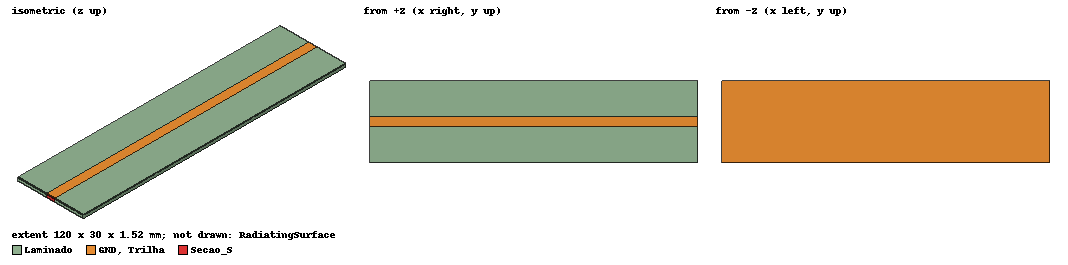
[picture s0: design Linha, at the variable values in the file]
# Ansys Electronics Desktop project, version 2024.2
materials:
  vacuum: permittivity=1
  ZYF300CA_P: permittivity=3 dielectric_loss_tangent=0.0018
  copper: permeability=0.999991 conductivity=58000000

design Linha (HFSS, HFSS Hybrid Modal Network, model units mm)
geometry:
  Laminado [ZYF300CA_P] = box(corner=(0mm, -15mm, 0mm), size=(120mm, 30mm, 1.52mm))
  GND = rectangle(corner=(0mm, -15mm, 0mm), x_size=120mm, y_size=30mm)
  Trilha = rectangle(corner=(0mm, -1.9065mm, 1.52mm), x_size=120mm, y_size=3.813mm)
  Secao_E = rectangle(corner=(0mm, -1.9065mm, 0mm), y_size=3.813mm, z_size=1.52mm)
  Secao_S = rectangle(corner=(120mm, -1.9065mm, 0mm), y_size=3.813mm, z_size=1.52mm)
  RadiatingSurface [vacuum] = region(absolute_offset=19.646365mm on all sides)
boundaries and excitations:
  Cobre: Finite Conductivity Objects=[Trilha, GND] UseMaterial Material=copper Thickness=0.035mm Roughness=0.5um IsInternal
  Open1: Radiation Objects=RadiatingSurface
  E: Lumped Port Objects=Secao_E LumpedPortType=Modal Modes{Mode1{IntLine{(0, 0, 1.52) -> (0, 0, 0)} CharImp=Zpi RenormImp=50ohm}} Impedance=50ohm
  S: Lumped Port Objects=Secao_S LumpedPortType=Modal Modes{Mode1{IntLine{(120, 0, 1.52) -> (120, 0, 0)} CharImp=Zpi RenormImp=50ohm}} Impedance=50ohm
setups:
  Perda: HfssDriven Frequency=5.17GHz MaxDeltaS=0.003 MaximumPasses=18 MinimumPasses=4 MinimumConvergedPasses=2 PercentRefinement=26 BasisOrder=1 PortAccuracy=2 DrivenSolverType="Direct Solver"
    sweep Banda: 5090MHz to 5250MHz step 10MHz; Type=Discrete
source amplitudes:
  E:1: 1W 0deg
  S:1: 0W 0deg
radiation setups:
  3D: Infinite Sphere Theta=0deg..180deg step 2deg Phi=-180deg..180deg step 2deg
  Elevation: Infinite Sphere Theta=-180deg..180deg step 1deg Phi=0deg..90deg step 90deg
  Azimuth: Infinite Sphere Theta=90deg..90deg step 0deg Phi=-180deg..180deg step 1deg
